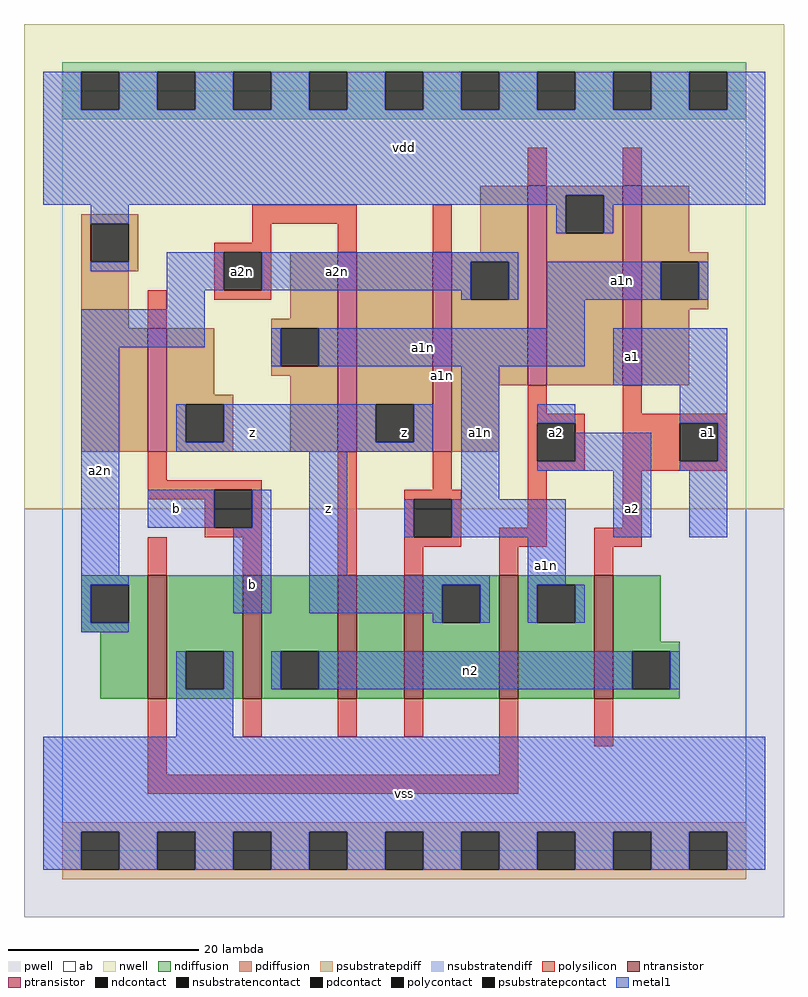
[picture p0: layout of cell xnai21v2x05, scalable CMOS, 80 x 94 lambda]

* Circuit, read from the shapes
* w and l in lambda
.subckt xnai21v2x05 a1 a1n a2 a2n b n2 vdd vss z
M1 vss a2 a2n vss nfet w=13 l=2
M2 n2 b vss vss nfet w=13 l=2
M3 n1 a2n n2 vss nfet w=13 l=2
M4 z a1n n1 vss nfet w=13 l=2
M5 a1n a2 z vss nfet w=13 l=2
M6 n2 a1 a1n vss nfet w=13 l=2
M7 z b vdd vdd pfet w=13 l=2
M8 z a2n a1n vdd pfet w=21 l=2
M9 a2n a1n z vdd pfet w=21 l=2
M10 vdd a2 a2n vdd pfet w=21 l=2
M11 a1n a1 vdd vdd pfet w=21 l=2
.ends

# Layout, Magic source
magic
tech scmos
<< ab >>
rect 0 0 72 80
<< pwell >>
rect -4 -7 76 36
<< nwell >>
rect -4 36 76 87
<< polysilicon >>
rect 49 70 51 74
rect 59 70 61 74
rect 20 66 31 68
rect 20 64 22 66
rect 16 63 22 64
rect 29 63 31 66
rect 39 63 41 68
rect 16 59 17 63
rect 21 59 22 63
rect 9 55 11 59
rect 16 58 22 59
rect 49 46 51 49
rect 59 46 61 49
rect 49 45 55 46
rect 9 39 11 42
rect 9 38 21 39
rect 9 37 16 38
rect 15 34 16 37
rect 20 34 21 38
rect 15 33 21 34
rect 9 29 11 33
rect 19 29 21 33
rect 29 29 31 42
rect 39 38 41 42
rect 49 41 50 45
rect 54 41 55 45
rect 49 40 55 41
rect 59 45 70 46
rect 59 41 65 45
rect 69 41 70 45
rect 59 40 70 41
rect 36 37 42 38
rect 36 33 37 37
rect 41 33 42 37
rect 49 34 51 40
rect 59 34 61 40
rect 36 32 42 33
rect 46 32 51 34
rect 56 32 61 34
rect 36 29 38 32
rect 46 29 48 32
rect 56 29 58 32
rect 9 8 11 16
rect 19 12 21 16
rect 29 12 31 16
rect 36 12 38 16
rect 46 8 48 16
rect 56 11 58 16
rect 9 6 48 8
<< ndiffusion >>
rect 2 28 9 29
rect 2 24 3 28
rect 7 24 9 28
rect 2 23 9 24
rect 4 16 9 23
rect 11 21 19 29
rect 11 17 13 21
rect 17 17 19 21
rect 11 16 19 17
rect 21 21 29 29
rect 21 17 23 21
rect 27 17 29 21
rect 21 16 29 17
rect 31 16 36 29
rect 38 28 46 29
rect 38 24 40 28
rect 44 24 46 28
rect 38 16 46 24
rect 48 28 56 29
rect 48 24 50 28
rect 54 24 56 28
rect 48 16 56 24
rect 58 22 63 29
rect 58 21 65 22
rect 58 17 60 21
rect 64 17 65 21
rect 58 16 65 17
<< pdiffusion >>
rect 2 66 8 67
rect 2 62 3 66
rect 7 62 8 66
rect 2 61 8 62
rect 44 63 49 70
rect 2 55 7 61
rect 24 56 29 63
rect 22 55 29 56
rect 2 42 9 55
rect 11 48 16 55
rect 22 51 23 55
rect 27 51 29 55
rect 22 50 29 51
rect 11 47 18 48
rect 11 43 13 47
rect 17 43 18 47
rect 11 42 18 43
rect 24 42 29 50
rect 31 47 39 63
rect 31 43 33 47
rect 37 43 39 47
rect 31 42 39 43
rect 41 62 49 63
rect 41 58 43 62
rect 47 58 49 62
rect 41 49 49 58
rect 51 69 59 70
rect 51 65 53 69
rect 57 65 59 69
rect 51 49 59 65
rect 61 63 66 70
rect 61 62 68 63
rect 61 58 63 62
rect 67 58 68 62
rect 61 57 68 58
rect 61 49 66 57
rect 41 42 46 49
<< metal1 >>
rect -2 78 2 82
rect 6 78 10 82
rect 14 78 18 82
rect 22 78 26 82
rect 30 78 34 82
rect 38 78 42 82
rect 46 78 50 82
rect 54 78 58 82
rect 62 78 66 82
rect 70 78 74 82
rect -2 69 74 78
rect -2 68 53 69
rect 3 66 7 68
rect 52 65 53 68
rect 57 68 74 69
rect 57 65 58 68
rect 3 61 7 62
rect 11 59 17 63
rect 21 62 48 63
rect 21 59 43 62
rect 11 57 15 59
rect 42 58 43 59
rect 47 58 48 62
rect 51 58 63 62
rect 67 58 68 62
rect 2 53 15 57
rect 51 55 55 58
rect 2 29 6 53
rect 22 51 23 55
rect 27 51 55 55
rect 12 43 13 47
rect 17 43 33 47
rect 37 43 39 47
rect 12 42 39 43
rect 9 34 16 38
rect 20 34 22 38
rect 2 28 7 29
rect 2 24 3 28
rect 18 25 22 34
rect 26 29 30 42
rect 42 37 46 51
rect 58 49 70 55
rect 50 45 54 47
rect 65 45 70 49
rect 54 41 62 44
rect 50 40 62 41
rect 69 41 70 45
rect 65 40 70 41
rect 36 33 37 37
rect 41 33 53 37
rect 58 33 62 40
rect 66 33 70 40
rect 26 28 45 29
rect 26 25 40 28
rect 39 24 40 25
rect 44 24 45 28
rect 49 28 53 33
rect 49 24 50 28
rect 54 24 55 28
rect 2 23 7 24
rect 12 17 13 21
rect 17 17 18 21
rect 22 17 23 21
rect 27 17 60 21
rect 64 17 65 21
rect 12 12 18 17
rect -2 2 74 12
rect -2 -2 2 2
rect 6 -2 10 2
rect 14 -2 18 2
rect 22 -2 26 2
rect 30 -2 34 2
rect 38 -2 42 2
rect 46 -2 50 2
rect 54 -2 58 2
rect 62 -2 66 2
rect 70 -2 74 2
<< ntransistor >>
rect 9 16 11 29
rect 19 16 21 29
rect 29 16 31 29
rect 36 16 38 29
rect 46 16 48 29
rect 56 16 58 29
<< ptransistor >>
rect 9 42 11 55
rect 29 42 31 63
rect 39 42 41 63
rect 49 49 51 70
rect 59 49 61 70
<< polycontact >>
rect 17 59 21 63
rect 16 34 20 38
rect 50 41 54 45
rect 65 41 69 45
rect 37 33 41 37
<< ndcontact >>
rect 3 24 7 28
rect 13 17 17 21
rect 23 17 27 21
rect 40 24 44 28
rect 50 24 54 28
rect 60 17 64 21
<< pdcontact >>
rect 3 62 7 66
rect 23 51 27 55
rect 13 43 17 47
rect 33 43 37 47
rect 43 58 47 62
rect 53 65 57 69
rect 63 58 67 62
<< psubstratepcontact >>
rect 2 -2 6 2
rect 10 -2 14 2
rect 18 -2 22 2
rect 26 -2 30 2
rect 34 -2 38 2
rect 42 -2 46 2
rect 50 -2 54 2
rect 58 -2 62 2
rect 66 -2 70 2
<< nsubstratencontact >>
rect 2 78 6 82
rect 10 78 14 82
rect 18 78 22 82
rect 26 78 30 82
rect 34 78 38 82
rect 42 78 46 82
rect 50 78 54 82
rect 58 78 62 82
rect 66 78 70 82
<< psubstratepdiff >>
rect 0 2 72 3
rect 0 -2 2 2
rect 6 -2 10 2
rect 14 -2 18 2
rect 22 -2 26 2
rect 30 -2 34 2
rect 38 -2 42 2
rect 46 -2 50 2
rect 54 -2 58 2
rect 62 -2 66 2
rect 70 -2 72 2
rect 0 -3 72 -2
<< nsubstratendiff >>
rect 0 82 72 83
rect 0 78 2 82
rect 6 78 10 82
rect 14 78 18 82
rect 22 78 26 82
rect 30 78 34 82
rect 38 78 42 82
rect 46 78 50 82
rect 54 78 58 82
rect 62 78 66 82
rect 70 78 72 82
rect 0 77 72 78
<< labels >>
rlabel polycontact 19 61 19 61 6 a2n
rlabel ptransistor 40 50 40 50 6 a1n
rlabel metal1 4 40 4 40 6 a2n
rlabel metal1 20 28 20 28 6 b
rlabel metal1 12 36 12 36 6 b
rlabel metal1 20 44 20 44 6 z
rlabel metal1 36 6 36 6 6 vss
rlabel metal1 28 36 28 36 6 z
rlabel pdcontact 36 44 36 44 6 z
rlabel metal1 36 74 36 74 6 vdd
rlabel metal1 51 30 51 30 6 a1n
rlabel polycontact 52 44 52 44 6 a2
rlabel metal1 44 44 44 44 6 a1n
rlabel metal1 29 61 29 61 6 a2n
rlabel metal1 38 53 38 53 6 a1n
rlabel metal1 43 19 43 19 6 n2
rlabel metal1 60 36 60 36 6 a2
rlabel polycontact 68 44 68 44 6 a1
rlabel metal1 60 52 60 52 6 a1
rlabel metal1 59 60 59 60 6 a1n
<< end >>
